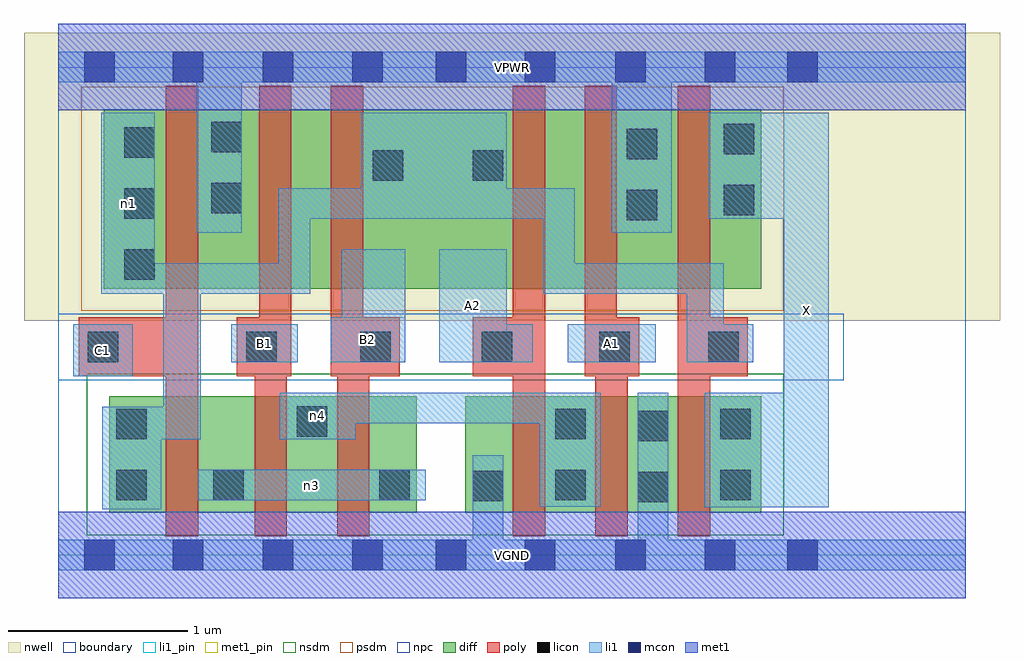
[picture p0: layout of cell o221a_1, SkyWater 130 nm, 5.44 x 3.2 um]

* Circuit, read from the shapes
.subckt o221a_1 A1 A2 B1 B2 C1 VGND VPWR X n1 n3 n4
XM1 n3 C1 n1 VSUBS sky130_fd_pr__nfet_01v8 w=0.65 l=0.18
XM2 n4 B1 n3 VSUBS sky130_fd_pr__nfet_01v8 w=0.65 l=0.18
XM3 n3 B2 n4 VSUBS sky130_fd_pr__nfet_01v8 w=0.65 l=0.18
XM4 n4 A2 VGND VSUBS sky130_fd_pr__nfet_01v8 w=0.65 l=0.18
XM5 VGND A1 n4 VSUBS sky130_fd_pr__nfet_01v8 w=0.65 l=0.18
XM6 X n1 VGND VSUBS sky130_fd_pr__nfet_01v8 w=0.65 l=0.18
XM7 VPWR C1 n1 n2 sky130_fd_pr__pfet_01v8 w=1 l=0.18
XM8 n5 B1 VPWR n2 sky130_fd_pr__pfet_01v8 w=1 l=0.18
XM9 n1 B2 n5 n2 sky130_fd_pr__pfet_01v8 w=1 l=0.18
XM10 n6 A2 n1 n2 sky130_fd_pr__pfet_01v8 w=1 l=0.18
XM11 VPWR A1 n6 n2 sky130_fd_pr__pfet_01v8 w=1 l=0.18
XM12 X n1 VPWR n2 sky130_fd_pr__pfet_01v8 w=1 l=0.18
.ends

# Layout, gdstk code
import gdstk
lib = gdstk.Library(unit=1e-6, precision=1e-09)
def R(c, l, rs):  # rectangles x0, y0, x1, y1
    for r in rs: c.add(gdstk.rectangle(r[:2], r[2:], *l))
def A(c, l, x, y, w, h, nx, ny, dx, dy):  # array of equal rectangles
    R(c, l, [(x+i*dx, y+j*dy, x+i*dx+w, y+j*dy+h) for i in range(nx) for j in range(ny)])
nwell = (64, 20)
diff = (65, 20)
poly = (66, 20)
licon = (66, 44)
li1_pin = (67, 16)
li1 = (67, 20)
mcon = (67, 44)
met1_pin = (68, 16)
met1 = (68, 20)
nsdm = (93, 44)
psdm = (94, 20)
npc = (95, 20)
boundary = (235, 4)

o221a_1 = lib.new_cell('o221a_1')
R(o221a_1, nwell, [(-0.19,1.305,5.25,2.91), (0,1.305,5.06,2.91)])
R(o221a_1, diff, [(0.285,0.235,2,0.885), (2.27,0.235,3.92,0.885), (0.255,1.485,3.92,2.485)])
R(o221a_1, poly, [(0.6,0.105,0.78,2.615), (1.095,0.105,1.275,1.325), (1.555,0.105,1.735,1.325), (2.535,0.105,2.715,2.615), (2.995,0.105,3.175,1.325), (3.455,0.105,3.635,2.615), (0.115,0.995,0.78,1.325), (0.995,0.995,1.3,1.325), (1.12,0.995,1.3,2.615), (1.52,0.995,1.7,2.615), (1.52,0.995,1.905,1.325), (2.31,0.995,2.715,1.325), (2.935,0.995,3.24,1.325), (2.935,0.995,3.115,2.615), (3.455,0.995,3.845,1.325)])
A(o221a_1, licon, 0.37, 1.535, 0.17, 0.17, 1, 3, 0, 0.34)
R(o221a_1, licon, [(3.23,0.295,3.4,0.465), (2.31,0.3,2.48,0.47), (0.325,0.305,0.495,0.475), (0.865,0.305,1.035,0.475), (1.79,0.305,1.96,0.475), (2.77,0.305,2.94,0.475), (3.69,0.305,3.86,0.475), (3.23,0.635,3.4,0.805), (0.325,0.645,0.495,0.815), (2.77,0.645,2.94,0.815), (3.69,0.645,3.86,0.815), (1.33,0.66,1.5,0.83), (0.165,1.075,0.335,1.245), (1.05,1.075,1.22,1.245), (1.685,1.075,1.855,1.245), (2.36,1.075,2.53,1.245), (3.015,1.075,3.185,1.245), (3.625,1.075,3.795,1.245), (3.17,1.865,3.34,2.035), (3.71,1.895,3.88,2.065), (0.855,1.905,1.025,2.075), (1.755,2.085,1.925,2.255), (2.31,2.085,2.48,2.255), (3.17,2.205,3.34,2.375), (3.71,2.235,3.88,2.405), (0.855,2.245,1.025,2.415)])
R(o221a_1, li1_pin, [(4.045,0.265,4.295,2.465), (0.085,0.995,0.415,1.285), (0.965,1.075,1.335,1.285), (1.52,1.075,1.935,1.325), (2.125,1.075,2.5,1.705), (2.84,1.075,3.33,1.285)])
R(o221a_1, li1, [(0,-0.085,5.06,0.085), (2.31,-0.085,2.48,0.555), (3.23,-0.085,3.4,0.905), (0.245,0.255,0.575,0.825), (3.605,0.265,4.295,0.905), (4.045,0.265,4.295,2.465), (2.685,0.27,3.025,0.905), (0.78,0.305,2.05,0.475), (0.245,0.645,0.795,0.825), (0.585,0.645,0.795,1.625), (1.235,0.645,1.66,0.905), (1.235,0.735,3.025,0.905), (0.085,0.995,0.415,1.285), (0.965,1.075,1.335,1.285), (1.52,1.075,1.935,1.325), (1.58,1.075,1.935,1.705), (2.125,1.075,2.5,1.705), (2.125,1.075,2.645,1.285), (2.84,1.075,3.33,1.285), (3.505,1.075,3.875,1.285), (3.505,1.075,3.71,1.625), (0.24,1.455,0.54,2.465), (0.24,1.455,1.405,1.625), (1.23,1.455,1.405,2.045), (2.705,1.455,2.88,2.045), (2.705,1.455,3.71,1.625), (0.77,1.795,1.025,2.805), (3.085,1.795,3.42,2.805), (1.23,1.875,2.88,2.045), (1.69,1.875,2.5,2.465), (3.625,1.875,4.295,2.465), (0,2.635,5.06,2.805)])
A(o221a_1, mcon, 0.64, -0.085, 0.17, 0.17, 3, 2, 0.5, 2.72)
R(o221a_1, mcon, [(0.145,-0.085,0.315,0.085), (2.105,-0.085,2.275,0.085), (2.6,-0.085,2.77,0.085), (3.105,-0.085,3.275,0.085), (3.605,-0.085,3.775,0.085), (4.065,-0.085,4.235,0.085), (0.145,2.635,0.315,2.805), (2.105,2.635,2.275,2.805), (2.6,2.635,2.77,2.805), (3.105,2.635,3.275,2.805), (3.605,2.635,3.775,2.805), (4.065,2.635,4.235,2.805)])
R(o221a_1, met1_pin, [(0,-0.24,5.06,0.24), (0,2.48,5.06,2.96)])
R(o221a_1, met1, [(0,-0.24,5.06,0.24), (0,2.48,5.06,2.96)])
R(o221a_1, nsdm, [(0.16,0.11,4.045,1.01)])
R(o221a_1, psdm, [(0.13,1.36,4.045,2.61)])
R(o221a_1, npc, [(0,0.975,4.38,1.345)])
R(o221a_1, boundary, [(0,0,5.06,2.72)])
o221a_1.add(gdstk.Label('A1', (3.085,1.18), layer=67, texttype=5))
o221a_1.add(gdstk.Label('A2', (2.312,1.39), layer=67, texttype=5))
o221a_1.add(gdstk.Label('B1', (1.15,1.18), layer=67, texttype=5))
o221a_1.add(gdstk.Label('B2', (1.727,1.2), layer=67, texttype=5))
o221a_1.add(gdstk.Label('C1', (0.25,1.14), layer=67, texttype=5))
o221a_1.add(gdstk.Label('X', (4.17,1.365), layer=67, texttype=5))
o221a_1.add(gdstk.Label('n3', (1.415,0.39), layer=67, texttype=5))
o221a_1.add(gdstk.Label('n4', (1.447,0.775), layer=67, texttype=5))
o221a_1.add(gdstk.Label('n1', (0.39,1.96), layer=67, texttype=5))
o221a_1.add(gdstk.Label('VPWR', (2.53,2.72), layer=68, texttype=5))
o221a_1.add(gdstk.Label('VGND', (2.53,0), layer=68, texttype=5))
o221a_1.add(gdstk.Label('A1', (3.085,1.18), layer=67, texttype=16))
o221a_1.add(gdstk.Label('A2', (2.312,1.39), layer=67, texttype=16))
o221a_1.add(gdstk.Label('B1', (1.15,1.18), layer=67, texttype=16))
o221a_1.add(gdstk.Label('B2', (1.727,1.2), layer=67, texttype=16))
o221a_1.add(gdstk.Label('C1', (0.25,1.14), layer=67, texttype=16))
o221a_1.add(gdstk.Label('X', (4.17,1.365), layer=67, texttype=16))
o221a_1.add(gdstk.Label('VPWR', (2.53,2.72), layer=68, texttype=16))
o221a_1.add(gdstk.Label('VGND', (2.53,0), layer=68, texttype=16))

lib.write_gds('o221a_1.gds')
